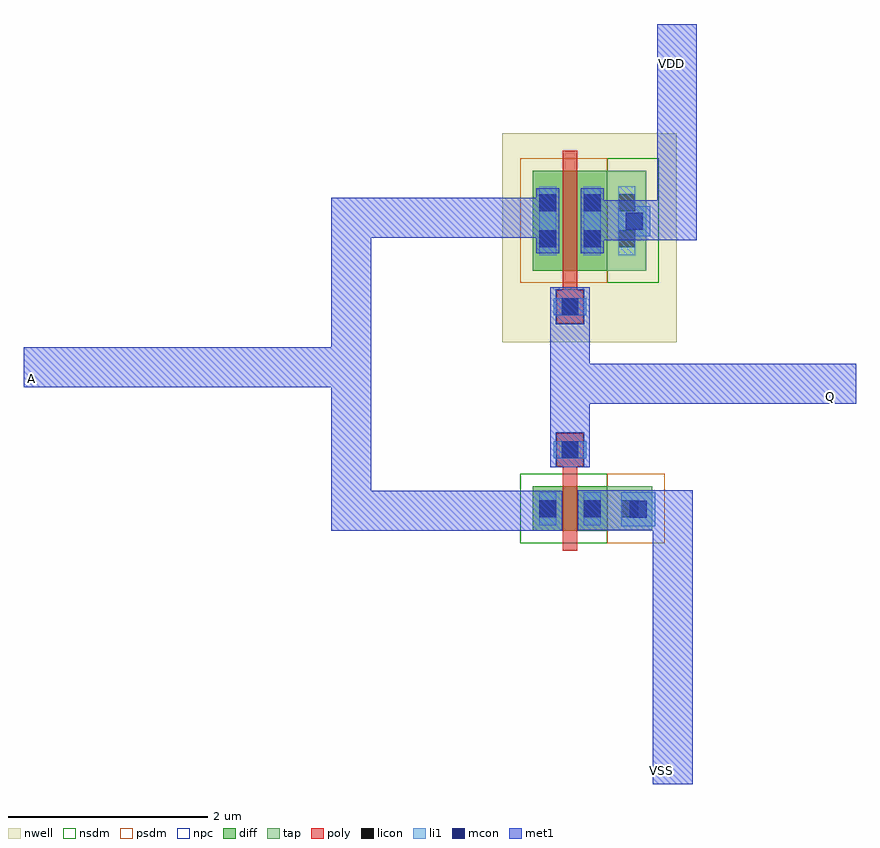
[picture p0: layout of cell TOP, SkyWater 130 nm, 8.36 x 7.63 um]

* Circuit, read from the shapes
.subckt TOP A Q VDD VSS
XM1 VSS Q A VSS sky130_fd_pr__nfet_01v8 w=0.45 l=0.15
XM2 VDD Q A VDD sky130_fd_pr__pfet_01v8 w=1 l=0.15
.ends

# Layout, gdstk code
import gdstk
lib = gdstk.Library(unit=1e-6, precision=5e-09)
def R(c, l, rs):  # rectangles x0, y0, x1, y1
    for r in rs: c.add(gdstk.rectangle(r[:2], r[2:], *l))
nwell = (64, 20)
diff = (65, 20)
tap = (65, 44)
poly = (66, 20)
licon = (66, 44)
li1 = (67, 20)
mcon = (67, 44)
met1 = (68, 20)
nsdm = (93, 44)
psdm = (94, 20)
npc = (95, 20)

nfet_1 = lib.new_cell('nfet$1')
R(nfet_1, diff, [(0,0,0.75,0.45)])
R(nfet_1, tap, [(0.75,0,1.2,0.45)])
R(nfet_1, poly, [(0.3,-0.2,0.45,0.65), (0.24,0.65,0.51,0.98)])
R(nfet_1, licon, [(0.065,0.14,0.235,0.31), (0.515,0.14,0.685,0.31), (0.89,0.14,1.06,0.31), (0.29,0.73,0.46,0.9)])
R(nfet_1, li1, [(0.065,0.06,0.235,0.39), (0.515,0.06,0.685,0.39), (0.89,0.06,1.06,0.39), (0.21,0.73,0.54,0.9)])
R(nfet_1, mcon, [(0.065,0.14,0.235,0.31), (0.515,0.14,0.685,0.31), (0.29,0.73,0.46,0.9)])
R(nfet_1, met1, [(0.005,0.08,0.295,0.37), (0.455,0.08,0.745,0.37), (0.19,0.7,0.56,0.93)])
R(nfet_1, nsdm, [(-0.125,-0.125,0.75,0.575)])
R(nfet_1, psdm, [(0.75,-0.125,1.325,0.575)])
R(nfet_1, npc, [(0.23,0.64,0.52,0.99)])

pfet_1 = lib.new_cell('pfet$1')
R(pfet_1, nwell, [(-0.305,-0.72,1.445,1.38)])
R(pfet_1, diff, [(0,0,0.75,1)])
R(pfet_1, tap, [(0.75,0,1.14,1)])
R(pfet_1, poly, [(0.24,-0.53,0.51,-0.2), (0.3,-0.2,0.45,1.2)])
R(pfet_1, licon, [(0.29,-0.45,0.46,-0.28), (0.065,0.235,0.235,0.405), (0.515,0.235,0.685,0.405), (0.86,0.235,1.03,0.405), (0.065,0.595,0.235,0.765), (0.515,0.595,0.685,0.765), (0.86,0.595,1.03,0.765)])
R(pfet_1, li1, [(0.21,-0.45,0.54,-0.28), (0.065,0.155,0.235,0.845), (0.515,0.155,0.685,0.845), (0.86,0.155,1.03,0.845)])
R(pfet_1, mcon, [(0.29,-0.45,0.46,-0.28), (0.065,0.235,0.235,0.405), (0.515,0.235,0.685,0.405), (0.065,0.595,0.235,0.765), (0.515,0.595,0.685,0.765)])
R(pfet_1, met1, [(0.19,-0.48,0.56,-0.25), (0.035,0.175,0.265,0.825), (0.485,0.175,0.715,0.825)])
R(pfet_1, nsdm, [(0.75,-0.125,1.265,1.125)])
R(pfet_1, psdm, [(-0.125,-0.125,0.75,1.125)])
R(pfet_1, npc, [(0.23,-0.54,0.52,-0.19)])

vias_gen = lib.new_cell('vias_gen')
R(vias_gen, li1, [(0,0,0.32,0.3)])
R(vias_gen, mcon, [(0.075,0.065,0.245,0.235)])
R(vias_gen, met1, [(0,0,0.32,0.3)])

vias_gen_1 = lib.new_cell('vias_gen$1')
R(vias_gen_1, li1, [(0,0,0.34,0.34)])
R(vias_gen_1, mcon, [(0.085,0.085,0.255,0.255)])
R(vias_gen_1, met1, [(0,0,0.34,0.34)])

top = lib.new_cell('TOP')
top.add(gdstk.FlexPath([(0.325,0.595),(0.325,-1.21)], 0.4, ends="flush", simple_path=True, layer=68, datatype=20))  # met1
top.add(gdstk.FlexPath([(0.37,-0.37),(3.2,-0.37)], 0.4, ends="flush", simple_path=True, layer=68, datatype=20))  # met1
top.add(gdstk.FlexPath([(0.06,1.295),(-1.87,1.295),(-1.87,-1.645),(0.245,-1.645)], 0.4, ends="flush", simple_path=True, layer=68, datatype=20))  # met1
top.add(gdstk.FlexPath([(0.405,-1.64),(1.355,-1.64),(1.355,-4.39)], 0.4, ends="flush", simple_path=True, layer=68, datatype=20))  # met1
top.add(gdstk.FlexPath([(0.465,1.27),(1.4,1.27),(1.4,3.24)], 0.4, ends="flush", simple_path=True, layer=68, datatype=20))  # met1
top.add(gdstk.FlexPath([(-1.85,-0.205),(-5.16,-0.205)], 0.4, ends="flush", simple_path=True, layer=68, datatype=20))  # met1
top.add(gdstk.Reference(nfet_1, (-0.05,-1.85)))
top.add(gdstk.Reference(pfet_1, (-0.05,0.765)))
top.add(gdstk.Reference(vias_gen, (0.81,1.11)))
top.add(gdstk.Reference(vias_gen_1, (0.84,-1.8)))
top.add(gdstk.Label('VDD', (1.34,2.84), layer=68, texttype=16))
top.add(gdstk.Label('A', (-5.08,-0.315), layer=68, texttype=16))
top.add(gdstk.Label('Q', (2.94,-0.495), layer=68, texttype=16))
top.add(gdstk.Label('VSS', (1.245,-4.25), layer=68, texttype=16))

lib.write_gds('TOP.gds')
